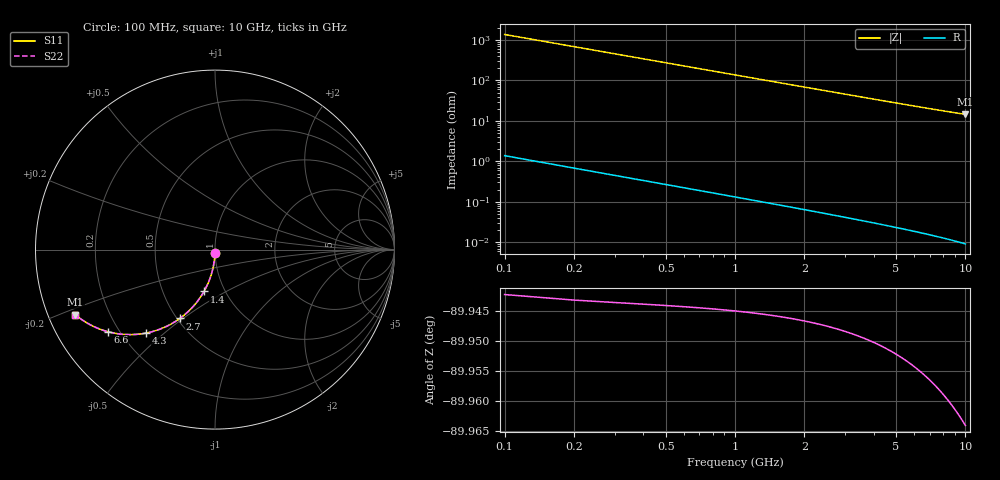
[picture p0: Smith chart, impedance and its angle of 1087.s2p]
# Hz S RI R 50.00
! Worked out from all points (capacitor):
!   100 points, 100 MHz to 10 GHz, reference 50 ohm
!   read as one part in shunt: C = 1.16 pF near 100 MHz
!   lowest |Z| = 14.5 ohm at 10 GHz (marker M1)
!   S11 on the Smith chart (normalised r, x): 100 MHz: 1.00, -0.04; 1.4 GHz: 0.80, -0.39; 2.7 GHz: 0.52, -0.49; 4.3 GHz: 0.30, -0.44; 6.6 GHz: 0.16, -0.33; 10 GHz: 0.08, -0.22
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1e8  -0.00015 -0.0177  0.9994 -0.0187  0.9994 -0.0187  -0.00015 -0.0177
2e8  -0.00116 -0.0355  0.9984 -0.0374  0.9984 -0.0374  -0.00116 -0.0355
3e8  -0.00283 -0.0531  0.9968 -0.056  0.9968 -0.056  -0.00283 -0.0531
4e8  -0.00516 -0.0706  0.9944 -0.0745  0.9944 -0.0745  -0.00516 -0.0706
5e8  -0.00813 -0.088  0.9915 -0.0928  0.9915 -0.0928  -0.00813 -0.088
6e8  -0.0117 -0.1052  0.9878 -0.111  0.9878 -0.111  -0.0117 -0.1052
7e8  -0.0159 -0.1222  0.9836 -0.129  0.9836 -0.129  -0.0159 -0.1222
9e8  -0.0262 -0.1555  0.9734 -0.1642  0.9734 -0.1642  -0.0262 -0.1555
1.1e9  -0.0387 -0.1876  0.9609 -0.1982  0.9609 -0.1982  -0.0387 -0.1876
1.4e9  -0.0612 -0.233  0.9382 -0.2465  0.9382 -0.2465  -0.0612 -0.233
1.8e9  -0.0975 -0.2878  0.902 -0.3052  0.902 -0.3052  -0.0975 -0.2878
2.2e9  -0.139 -0.3352  0.8603 -0.3565  0.8603 -0.3565  -0.139 -0.3352
2.7e9  -0.1959 -0.3836  0.8033 -0.4097  0.8033 -0.4097  -0.1959 -0.3836
3.4e9  -0.2792 -0.4318  0.7199 -0.4648  0.7199 -0.4648  -0.2792 -0.4318
4.3e9  -0.3834 -0.4649  0.6152 -0.5068  0.6152 -0.5068  -0.3834 -0.4649
5.1e9  -0.4677 -0.4736  0.5306 -0.5234  0.5306 -0.5234  -0.4677 -0.4736
5.8e9  -0.5329 -0.4699  0.465 -0.5267  0.465 -0.5267  -0.5329 -0.4699
6.6e9  -0.5976 -0.4571  0.3998 -0.522  0.3998 -0.522  -0.5976 -0.4571
6.7e9  -0.605 -0.4551  0.3924 -0.521  0.3924 -0.521  -0.605 -0.4551
7.5e9  -0.6587 -0.436  0.3381 -0.5101  0.3381 -0.5101  -0.6587 -0.436
8.4e9  -0.7091 -0.411  0.2869 -0.4944  0.2869 -0.4944  -0.7091 -0.411
1e10  -0.7777 -0.3631  0.2167 -0.4636  0.2167 -0.4636  -0.7777 -0.3631
